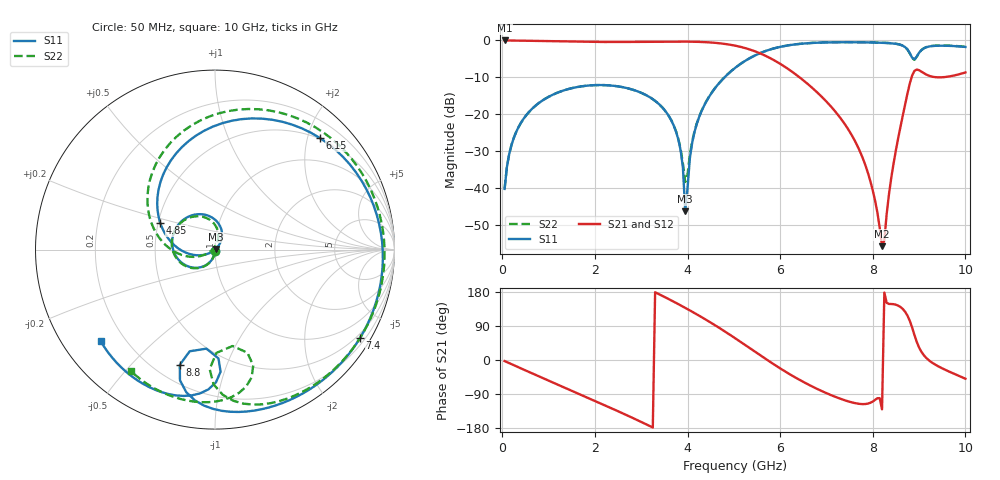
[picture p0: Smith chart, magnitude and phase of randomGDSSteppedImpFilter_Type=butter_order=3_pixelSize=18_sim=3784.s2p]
! freq	dB(S11)	phase(S11)	dB(S12)	phase(S12)
!  dB(S21)	phase(S21)	dB(S22)	phase(S22)
!S-par simulation data
#  GHz  S  DB  R 50
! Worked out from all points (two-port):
!   200 points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, 50 MHz to 10 GHz, reference 50 ohm
!   highest |S21| = 0.00 dB at 50 MHz (marker M1); lowest = -55.9 dB at 8.2 GHz (marker M2)
!   |S21| within 3 dB of the highest: start of sweep to 5.467 GHz
!   lowest |S11| = -46.4 dB at 3.95 GHz (marker M3), VSWR 1.01, Z = 50.4 + j0.305 ohm
!   |S11| at or under -10 dB: start of sweep to 4.799 GHz
!   |S22| runs from -40.2 to -0.5 dB; largest |S21 - S12| = 0
!   S11 on the Smith chart (normalised r, x): 50 MHz: 1.00, -0.02; 4.85 GHz: 0.51, +0.17; 6.15 GHz: 0.48, +2.22; 7.4 GHz: 0.38, -3.53; 8.8 GHz: 0.30, -0.70; 10 GHz: 0.11, -0.35
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0.05  -40.31 -92.4  -0.00 -2.8  -0.00 -2.8  -40.25 -91.9
0.2  -28.31 -101.2  -0.02 -11.0  -0.02 -11.0  -28.30 -100.8
0.5  -20.57 -118.2  -0.08 -27.4  -0.08 -27.4  -20.58 -117.4
1.75  -12.39 173.0  -0.37 -94.6  -0.37 -94.6  -12.39 176.4
3.4  -17.48 77.8  -0.33 172.8  -0.33 172.8  -17.48 88.8
3.8  -26.82 51.7  -0.30 147.5  -0.30 147.5  -26.66 73.2
3.9  -34.47 44.7  -0.31 141.0  -0.31 141.0  -33.40 84.1
3.95  -46.41 39.3  -0.31 137.6  -0.31 137.6  -38.44 120.1
4.05  -32.03 -145.0  -0.33 130.9  -0.33 130.9  -31.15 -159.5
4.2  -22.65 -155.9  -0.37 120.5  -0.37 120.5  -22.50 -154.6
4.85  -9.38 154.0  -1.02 71.8  -1.02 71.8  -9.36 164.4
5.05  -7.23 137.4  -1.47 55.7  -1.47 55.7  -7.22 148.9
5.55  -3.54 95.1  -3.42 14.1  -3.42 14.1  -3.53 108.6
6.15  -1.38 46.9  -7.56 -33.4  -7.56 -33.4  -1.38 61.6
6.7  -0.67 8.9  -12.96 -70.4  -12.96 -70.4  -0.66 24.1
7.4  -0.48 -31.3  -22.79 -106.5  -22.79 -106.5  -0.46 -16.1
7.9  -0.54 -56.4  -36.15 -114.9  -36.15 -114.9  -0.51 -41.5
8.2  -0.64 -71.2  -55.86 -130.2  -55.86 -130.2  -0.61 -56.4
8.35  -0.73 -79.0  -41.75 147.9  -41.75 147.9  -0.70 -64.2
8.8  -3.46 -107.0  -11.67 103.2  -11.67 103.2  -3.52 -92.6
9.05  -2.62 -89.6  -8.47 21.7  -8.47 21.7  -2.60 -74.0
10  -1.77 -141.3  -8.69 -49.4  -8.69 -49.4  -1.69 -124.9
